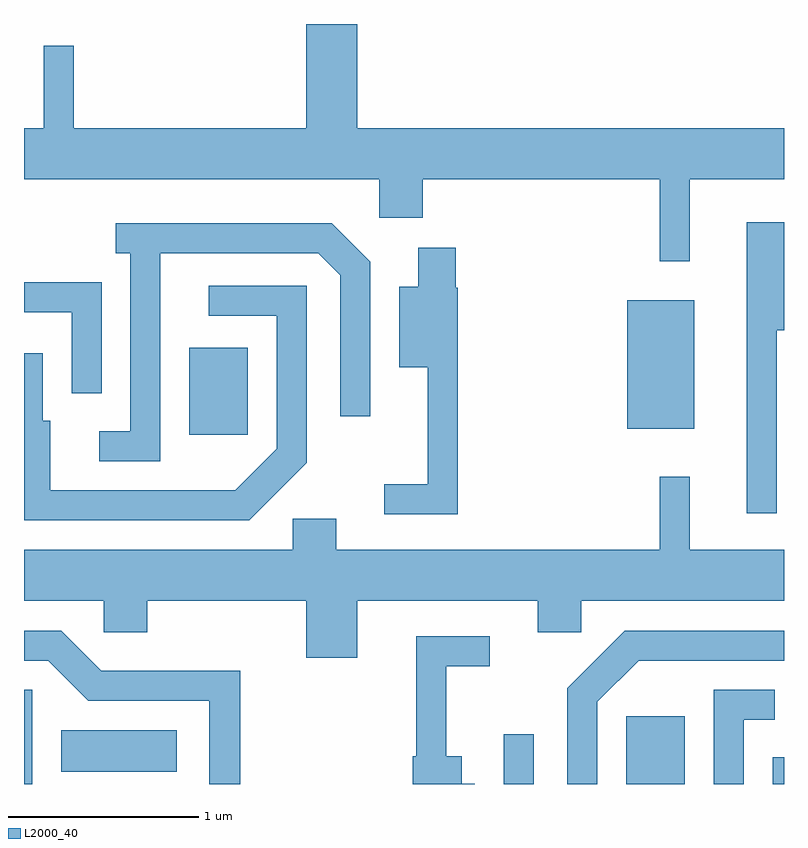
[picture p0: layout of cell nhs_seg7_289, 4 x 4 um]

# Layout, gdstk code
import gdstk
lib = gdstk.Library(unit=1e-6, precision=1e-09)
def R(c, l, rs):  # rectangles x0, y0, x1, y1
    for r in rs: c.add(gdstk.rectangle(r[:2], r[2:], *l))
def P(c, l, *ps):  # polygons
    for p in ps: c.add(gdstk.Polygon(p, *l))
L2000_40 = (2000, 40)

nhs_seg7_289 = lib.new_cell('nhs_seg7_289')
R(nhs_seg7_289, L2000_40, [(193.611,1702.252,193.654,1702.749), (196.136,1702.252,196.294,1702.513), (196.781,1702.252,197.089,1702.609), (197.551,1702.252,197.611,1702.393), (193.806,1702.316,194.414,1702.534), (194.481,1704.091,194.789,1704.549), (196.786,1704.121,197.139,1704.799)])
P(nhs_seg7_289, L2000_40, [(197.114,1705.436),(197.611,1705.436),(197.611,1705.704),(195.364,1705.704),(195.364,1706.252),(195.096,1706.252),(195.096,1705.704),(193.874,1705.704),(193.874,1706.138),(193.716,1706.138),(193.716,1705.704),(193.611,1705.704),(193.611,1705.436),(195.481,1705.436),(195.481,1705.231),(195.709,1705.231),(195.709,1705.436),(196.956,1705.436),(196.956,1705.003),(197.114,1705.003)],
  [(197.574,1704.641),(197.611,1704.641),(197.611,1705.209),(197.416,1705.209),(197.416,1703.678),(197.574,1703.678)],
  [(194.329,1705.046),(195.159,1705.046),(195.276,1704.929),(195.276,1704.188),(195.434,1704.188),(195.434,1705.002),(195.232,1705.204),(194.093,1705.204),(194.093,1705.046),(194.171,1705.046),(194.171,1704.109),(194.008,1704.109),(194.008,1703.951),(194.329,1703.951)],
  [(195.894,1704.865),(195.884,1704.865),(195.884,1705.074),(195.686,1705.074),(195.686,1704.869),(195.586,1704.869),(195.586,1704.446),(195.736,1704.446),(195.736,1703.829),(195.508,1703.829),(195.508,1703.671),(195.894,1703.671)],
  [(194.019,1704.894),(193.611,1704.894),(193.611,1704.736),(193.861,1704.736),(193.861,1704.308),(194.019,1704.308)],
  [(195.099,1703.944),(195.099,1704.874),(194.583,1704.874),(194.583,1704.716),(194.941,1704.716),(194.941,1704.017),(194.724,1703.799),(193.749,1703.799),(193.749,1704.164),(193.709,1704.164),(193.709,1704.519),(193.611,1704.519),(193.611,1703.641),(194.797,1703.641)],
  [(195.364,1703.216),(196.316,1703.216),(196.316,1703.051),(196.544,1703.051),(196.544,1703.216),(197.611,1703.216),(197.611,1703.484),(197.114,1703.484),(197.114,1703.868),(196.956,1703.868),(196.956,1703.484),(195.254,1703.484),(195.254,1703.649),(195.026,1703.649),(195.026,1703.484),(193.611,1703.484),(193.611,1703.216),(194.031,1703.216),(194.031,1703.051),(194.259,1703.051),(194.259,1703.216),(195.096,1703.216),(195.096,1702.916),(195.364,1702.916)],
  [(196.629,1702.684),(196.847,1702.901),(197.611,1702.901),(197.611,1703.059),(196.774,1703.059),(196.471,1702.757),(196.471,1702.252),(196.629,1702.252)],
  [(194.749,1702.849),(194.017,1702.849),(193.807,1703.059),(193.611,1703.059),(193.611,1702.901),(193.739,1702.901),(193.949,1702.691),(194.586,1702.691),(194.586,1702.252),(194.749,1702.252)],
  [(195.984,1702.254),(195.914,1702.254),(195.914,1702.399),(195.834,1702.399),(195.834,1702.871),(196.063,1702.871),(196.063,1703.029),(195.676,1703.029),(195.676,1702.399),(195.656,1702.399),(195.656,1702.252),(195.984,1702.252)],
  [(197.399,1702.591),(197.563,1702.591),(197.563,1702.749),(197.241,1702.749),(197.241,1702.252),(197.399,1702.252)])

lib.write_gds('nhs_seg7_289.gds')
